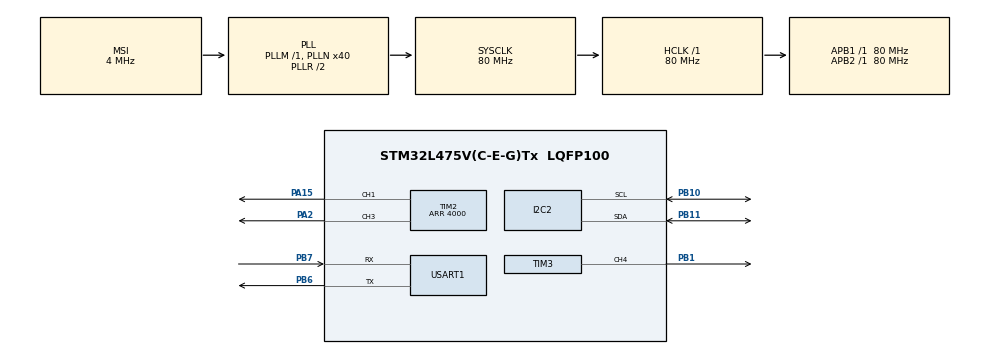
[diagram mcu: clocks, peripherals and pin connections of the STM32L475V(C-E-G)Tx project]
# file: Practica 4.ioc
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I2C2.Timing=0x10D19CE4
Mcu.Family=STM32L4
Mcu.Name=STM32L475V(C-E-G)Tx
Mcu.Package=LQFP100
NVIC.PriorityGroup=NVIC_PRIORITYGROUP_4
PA15\ (JTDI).Signal=S_TIM2_CH1
PA2.Signal=S_TIM2_CH3
PB1.Signal=S_TIM3_CH4
PB10.Mode=I2C
PB10.Signal=I2C2_SCL
PB11.Mode=I2C
PB11.Signal=I2C2_SDA
PB6.Mode=Asynchronous
PB6.Signal=USART1_TX
PB7.Mode=Asynchronous
PB7.Signal=USART1_RX
ProjectManager.HeapSize=0x200
ProjectManager.StackSize=0x400
ProjectManager.TargetToolchain=STM32CubeIDE
RCC.AHBFreq_Value=80000000
RCC.APB1Freq_Value=80000000
RCC.APB1TimFreq_Value=80000000
RCC.APB2Freq_Value=80000000
RCC.APB2TimFreq_Value=80000000
RCC.CortexFreq_Value=80000000
RCC.HCLKFreq_Value=80000000
RCC.HSE_VALUE=8000000
RCC.HSI_VALUE=16000000
RCC.LSE_VALUE=32768
RCC.MSI_VALUE=4000000
RCC.PLLN=40
RCC.SYSCLKFreq_VALUE=80000000
RCC.SYSCLKSource=RCC_SYSCLKSOURCE_PLLCLK
RCC.VCOOutputFreq_Value=160000000
SH.S_TIM2_CH1.0=TIM2_CH1,PWM Generation1 CH1
SH.S_TIM2_CH3.0=TIM2_CH3,PWM Generation3 CH3
SH.S_TIM3_CH4.0=TIM3_CH4,PWM Generation4 CH4
TIM2.Channel-PWM\ Generation1\ CH1=TIM_CHANNEL_1
TIM2.Channel-PWM\ Generation3\ CH3=TIM_CHANNEL_3
TIM2.Period=4000
TIM3.Channel-PWM\ Generation4\ CH4=TIM_CHANNEL_4
TIM3.Period=20000
TIM3.Prescaler=79
TIM3.Pulse-PWM\ Generation4\ CH4=500
USART1.VirtualMode-Asynchronous=VM_ASYNC
board=custom

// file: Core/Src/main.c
/* USER CODE BEGIN Header */
/**
  ******************************************************************************
  * @file           : main.c
  * @brief          : Main program body
  ******************************************************************************
  * @attention
  *
  * Copyright (c) 2025 STMicroelectronics.
  * All rights reserved.
  *
  * This software is licensed under terms that can be found in the LICENSE file
  * in the root directory of this software component.
  * If no LICENSE file comes with this software, it is provided AS-IS.
  *
  ******************************************************************************
  */
/* USER CODE END Header */
#include "main.h"

I2C_HandleTypeDef hi2c2;

TIM_HandleTypeDef htim2;
TIM_HandleTypeDef htim3;

UART_HandleTypeDef huart1;

void SystemClock_Config(void);
static void MX_GPIO_Init(void);
static void MX_TIM2_Init(void);
static void MX_USART1_UART_Init(void);
static void MX_I2C2_Init(void);
static void MX_TIM3_Init(void);
/* USER CODE BEGIN PFP */
void setServoPos(float ang);
/* USER CODE END PFP */

int main(void)
{

  /* MCU Configuration--------------------------------------------------------*/

  /* Reset of all peripherals, Initializes the Flash interface and the Systick. */
  HAL_Init();

  /* Configure the system clock */
  SystemClock_Config();

  /* Initialize all configured peripherals */
  MX_GPIO_Init();
  MX_TIM2_Init();
  MX_USART1_UART_Init();
  MX_I2C2_Init();
  MX_TIM3_Init();
  /* USER CODE BEGIN 2 */
  HAL_TIM_PWM_Start(&htim2, TIM_CHANNEL_3);
  HAL_TIM_PWM_Start(&htim2, TIM_CHANNEL_1);
  HAL_TIM_PWM_Start(&htim3, TIM_CHANNEL_4);
  /* USER CODE END 2 */

  /* Infinite loop */
  /* USER CODE BEGIN WHILE */
  while (1)
  {
    int16_t th;
    int16_t tx;
    float servo;
    /* USER CODE END WHILE */

    /* USER CODE BEGIN 3 */
    tx = LSM6DSL_ReadAccel(0);
    float ang = (tx+1000)*18/200;
    setServoPos(ang);
//    for(servo=0; servo<180; servo+=10){
//    setServoPos(servo);
//    HAL_Delay(500);
//    }
//
//    for(servo=500; servo<2500; servo+=250){
//    __HAL_TIM_SET_COMPARE(&htim3, TIM_CHANNEL_4, servo);
//    HAL_Delay(500);
//    }

    setMotorSpeed(4*LSM6DSL_ReadAccel(1));
    HAL_Delay(100);

//    for(th=-4000; th<4000; th += 100){
//      	setMotorSpeed(th);
//
//      	HAL_Delay(200);
//      }
//    HAL_Delay(1000);
//
//    for(th=0; th<4000; th += 100){
//          	setMotorSpeed(th);
//
//          	HAL_Delay(200);
//          }
//
//    HAL_Delay(1000);
//
//    for(th=0; th>-4000; th -= 100){
//          	setMotorSpeed(th);
//
//          	HAL_Delay(200);
//          }
//
//    HAL_Delay(1000);
//  }
  }
  /* USER CODE END 3 */
}

void SystemClock_Config(void)
{
  RCC_OscInitTypeDef RCC_OscInitStruct = {0};
  RCC_ClkInitTypeDef RCC_ClkInitStruct = {0};

  /** Configure the main internal regulator output voltage
  */
  if (HAL_PWREx_ControlVoltageScaling(PWR_REGULATOR_VOLTAGE_SCALE1) != HAL_OK)
  {
    Error_Handler();
  }

  /** Initializes the RCC Oscillators according to the specified parameters
  * in the RCC_OscInitTypeDef structure.
  */
  RCC_OscInitStruct.OscillatorType = RCC_OSCILLATORTYPE_MSI;
  RCC_OscInitStruct.MSIState = RCC_MSI_ON;
  RCC_OscInitStruct.MSICalibrationValue = 0;
  RCC_OscInitStruct.MSIClockRange = RCC_MSIRANGE_6;
  RCC_OscInitStruct.PLL.PLLState = RCC_PLL_ON;
  RCC_OscInitStruct.PLL.PLLSource = RCC_PLLSOURCE_MSI;
  RCC_OscInitStruct.PLL.PLLM = 1;
  RCC_OscInitStruct.PLL.PLLN = 40;
  RCC_OscInitStruct.PLL.PLLP = RCC_PLLP_DIV7;
  RCC_OscInitStruct.PLL.PLLQ = RCC_PLLQ_DIV2;
  RCC_OscInitStruct.PLL.PLLR = RCC_PLLR_DIV2;
  if (HAL_RCC_OscConfig(&RCC_OscInitStruct) != HAL_OK)
  {
    Error_Handler();
  }

  /** Initializes the CPU, AHB and APB buses clocks
  */
  RCC_ClkInitStruct.ClockType = RCC_CLOCKTYPE_HCLK|RCC_CLOCKTYPE_SYSCLK
                              |RCC_CLOCKTYPE_PCLK1|RCC_CLOCKTYPE_PCLK2;
  RCC_ClkInitStruct.SYSCLKSource = RCC_SYSCLKSOURCE_PLLCLK;
  RCC_ClkInitStruct.AHBCLKDivider = RCC_SYSCLK_DIV1;
  RCC_ClkInitStruct.APB1CLKDivider = RCC_HCLK_DIV1;
  RCC_ClkInitStruct.APB2CLKDivider = RCC_HCLK_DIV1;

  if (HAL_RCC_ClockConfig(&RCC_ClkInitStruct, FLASH_LATENCY_4) != HAL_OK)
  {
    Error_Handler();
  }
}

static void MX_I2C2_Init(void)
{

  hi2c2.Instance = I2C2;
  hi2c2.Init.Timing = 0x10D19CE4;
  hi2c2.Init.OwnAddress1 = 0;
  hi2c2.Init.AddressingMode = I2C_ADDRESSINGMODE_7BIT;
  hi2c2.Init.DualAddressMode = I2C_DUALADDRESS_DISABLE;
  hi2c2.Init.OwnAddress2 = 0;
  hi2c2.Init.OwnAddress2Masks = I2C_OA2_NOMASK;
  hi2c2.Init.GeneralCallMode = I2C_GENERALCALL_DISABLE;
  hi2c2.Init.NoStretchMode = I2C_NOSTRETCH_DISABLE;
  if (HAL_I2C_Init(&hi2c2) != HAL_OK)
  {
    Error_Handler();
  }

  /** Configure Analogue filter
  */
  if (HAL_I2CEx_ConfigAnalogFilter(&hi2c2, I2C_ANALOGFILTER_ENABLE) != HAL_OK)
  {
    Error_Handler();
  }

  /** Configure Digital filter
  */
  if (HAL_I2CEx_ConfigDigitalFilter(&hi2c2, 0) != HAL_OK)
  {
    Error_Handler();
  }

}

static void MX_TIM2_Init(void)
{

  TIM_MasterConfigTypeDef sMasterConfig = {0};
  TIM_OC_InitTypeDef sConfigOC = {0};

  htim2.Instance = TIM2;
  htim2.Init.Prescaler = 0;
  htim2.Init.CounterMode = TIM_COUNTERMODE_UP;
  htim2.Init.Period = 4000;
  htim2.Init.ClockDivision = TIM_CLOCKDIVISION_DIV1;
  htim2.Init.AutoReloadPreload = TIM_AUTORELOAD_PRELOAD_DISABLE;
  if (HAL_TIM_PWM_Init(&htim2) != HAL_OK)
  {
    Error_Handler();
  }
  sMasterConfig.MasterOutputTrigger = TIM_TRGO_RESET;
  sMasterConfig.MasterSlaveMode = TIM_MASTERSLAVEMODE_DISABLE;
  if (HAL_TIMEx_MasterConfigSynchronization(&htim2, &sMasterConfig) != HAL_OK)
  {
    Error_Handler();
  }
  sConfigOC.OCMode = TIM_OCMODE_PWM1;
  sConfigOC.Pulse = 0;
  sConfigOC.OCPolarity = TIM_OCPOLARITY_HIGH;
  sConfigOC.OCFastMode = TIM_OCFAST_DISABLE;
  if (HAL_TIM_PWM_ConfigChannel(&htim2, &sConfigOC, TIM_CHANNEL_1) != HAL_OK)
  {
    Error_Handler();
  }
  if (HAL_TIM_PWM_ConfigChannel(&htim2, &sConfigOC, TIM_CHANNEL_3) != HAL_OK)
  {
    Error_Handler();
  }
  HAL_TIM_MspPostInit(&htim2);

}

static void MX_TIM3_Init(void)
{

  TIM_MasterConfigTypeDef sMasterConfig = {0};
  TIM_OC_InitTypeDef sConfigOC = {0};

  htim3.Instance = TIM3;
  htim3.Init.Prescaler = 79;
  htim3.Init.CounterMode = TIM_COUNTERMODE_UP;
  htim3.Init.Period = 20000;
  htim3.Init.ClockDivision = TIM_CLOCKDIVISION_DIV1;
  htim3.Init.AutoReloadPreload = TIM_AUTORELOAD_PRELOAD_DISABLE;
  if (HAL_TIM_PWM_Init(&htim3) != HAL_OK)
  {
    Error_Handler();
  }
  sMasterConfig.MasterOutputTrigger = TIM_TRGO_RESET;
  sMasterConfig.MasterSlaveMode = TIM_MASTERSLAVEMODE_DISABLE;
  if (HAL_TIMEx_MasterConfigSynchronization(&htim3, &sMasterConfig) != HAL_OK)
  {
    Error_Handler();
  }
  sConfigOC.OCMode = TIM_OCMODE_PWM1;
  sConfigOC.Pulse = 500;
  sConfigOC.OCPolarity = TIM_OCPOLARITY_HIGH;
  sConfigOC.OCFastMode = TIM_OCFAST_DISABLE;
  if (HAL_TIM_PWM_ConfigChannel(&htim3, &sConfigOC, TIM_CHANNEL_4) != HAL_OK)
  {
    Error_Handler();
  }
  HAL_TIM_MspPostInit(&htim3);

}

static void MX_USART1_UART_Init(void)
{

  huart1.Instance = USART1;
  huart1.Init.BaudRate = 115200;
  huart1.Init.WordLength = UART_WORDLENGTH_8B;
  huart1.Init.StopBits = UART_STOPBITS_1;
  huart1.Init.Parity = UART_PARITY_NONE;
  huart1.Init.Mode = UART_MODE_TX_RX;
  huart1.Init.HwFlowCtl = UART_HWCONTROL_NONE;
  huart1.Init.OverSampling = UART_OVERSAMPLING_16;
  huart1.Init.OneBitSampling = UART_ONE_BIT_SAMPLE_DISABLE;
  huart1.AdvancedInit.AdvFeatureInit = UART_ADVFEATURE_NO_INIT;
  if (HAL_UART_Init(&huart1) != HAL_OK)
  {
    Error_Handler();
  }

}

static void MX_GPIO_Init(void)
{

  /* GPIO Ports Clock Enable */
  __HAL_RCC_GPIOA_CLK_ENABLE();
  __HAL_RCC_GPIOB_CLK_ENABLE();

}

/* USER CODE BEGIN 4 */
void setMotorSpeed(int16_t speed){
	if(speed < 0){
//		speed = -speed;
		__HAL_TIM_SET_COMPARE(&htim2, TIM_CHANNEL_1, 0);
		__HAL_TIM_SET_COMPARE(&htim2, TIM_CHANNEL_3, -speed);
	} else if (0 <= speed) {
		__HAL_TIM_SET_COMPARE(&htim2, TIM_CHANNEL_3, 0);
		__HAL_TIM_SET_COMPARE(&htim2, TIM_CHANNEL_1, speed);
	}
}

void setServoPos(float ang){
	ang = 500+(ang*200)/18;
	__HAL_TIM_SET_COMPARE(&htim3, TIM_CHANNEL_4, ang);
}
/* USER CODE END 4 */

void Error_Handler(void)
{
  __disable_irq();
  while (1)
  {
  }
}
